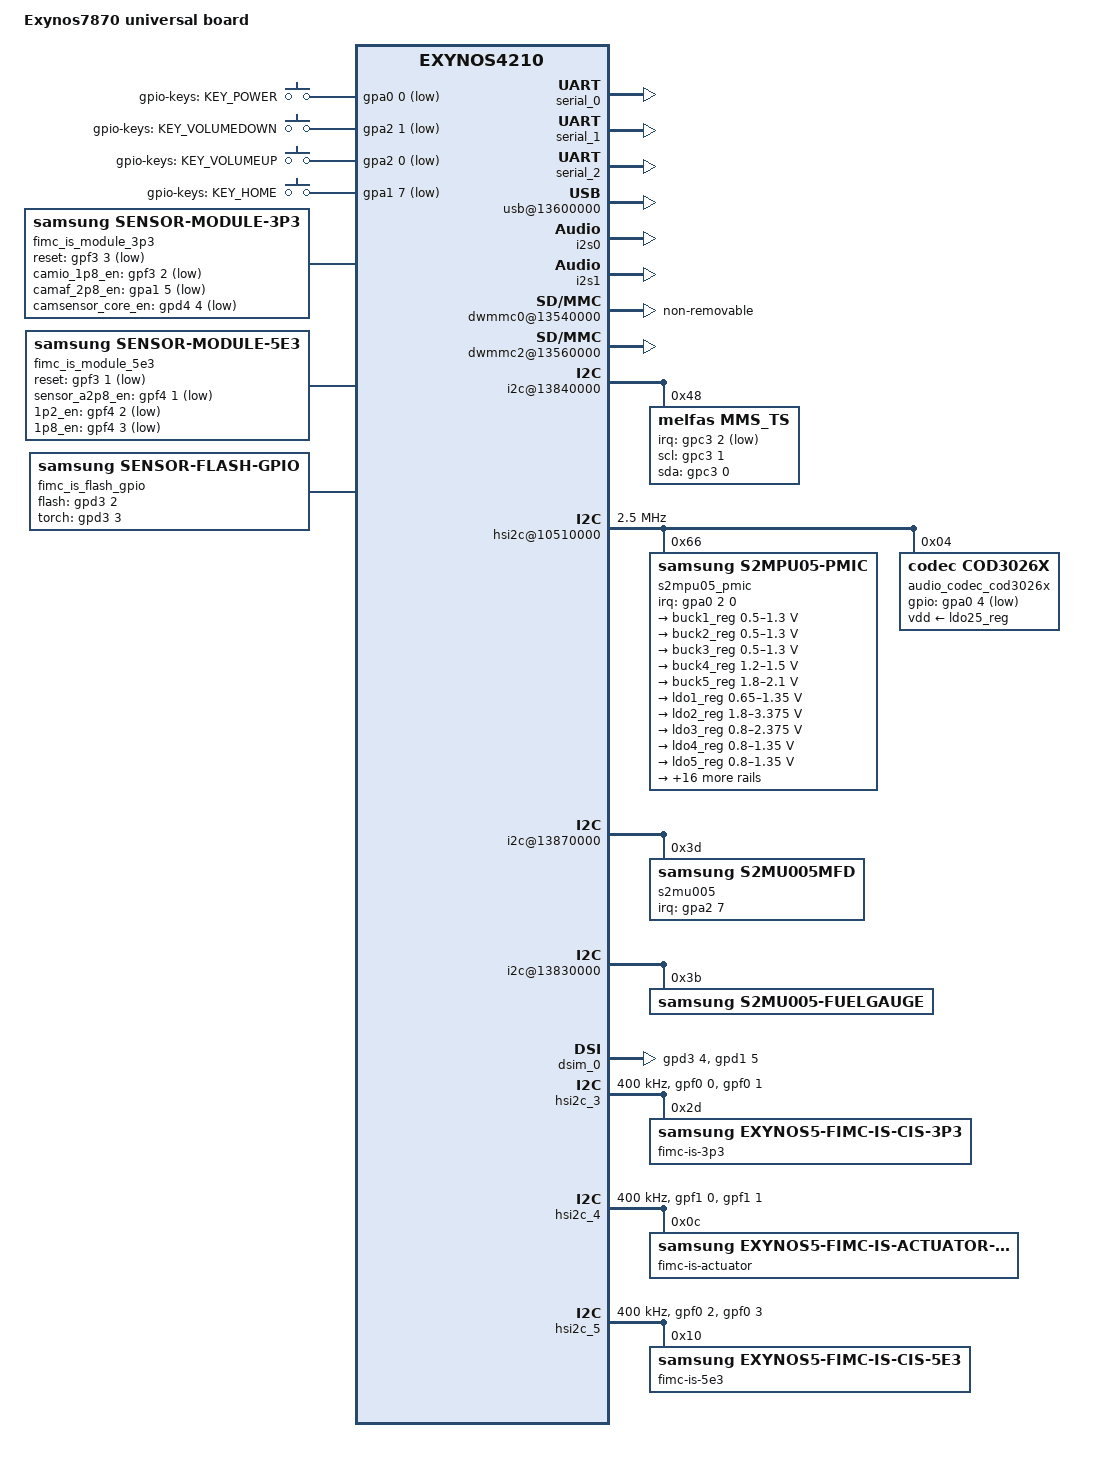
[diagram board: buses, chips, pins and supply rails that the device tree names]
/*
 * SAMSUNG UNIVERSAL8890 board device tree source
 *
 * Copyright (c) 2013 Samsung Electronics Co., Ltd.
 *		http://www.samsung.com
 *
 * This program is free software; you can redistribute it and/or modify
 * it under the terms of the GNU General Public License version 2 as
 * published by the Free Software Foundation.
*/

/dts-v1/;
#include "exynos7870.dtsi"
#include "modem-ss315ap-pdata.dtsi"
#include "exynos7870-rmem-2000MB.dtsi"

/ {
	model = "Exynos7870 universal board";
	compatible = "samsung,exynos7870", "samsung,exynos4210";

	ect {
		parameter_address = <0x90000000>;
		parameter_size = <0x14000>;	/* u-boot always overwrites this value. */
	};

	memory@40000000 {
		device_type = "memory";
		reg = <0x0 0x40000000 0x80000000>;
	};

	chosen {
		bootargs = "console=ram ess_setup=0x46000000 androidboot.hardware=samsungexynos7870 androidboot.selinux=disabled firmware_class.path=/vendor/firmware androidboot.debug_level=0x4948 reserve-fimc=0";
		linux,initrd-start = <0x42000000>;
		linux,initrd-end = <0x420FFFFF>;
	};

	fixed-rate-clocks {
		oscclk {
			compatible = "samsung,exynos7870-oscclk";
			clock-frequency = <26000000>;
		};
	};

	reserved-memory {
		#address-cells = <2>;
		#size-cells = <1>;
		ranges;

		mfc_fw {
			compatible = "exynos5433-ion,mfc_fw";
			secure;
			reg = <0x0 0xAE800000 0x200000>;
			id = <8>;
		};

		mfc_nfw {
			compatible = "exynos5433-ion,mfc_nfw";
			reg = <0x0 0xAE600000 0x200000>;
			id = <12>;
		};
	};

	serial_0: uart@13810000 {
		status = "okay";
	};

	serial_1: uart@13800000 {
		status = "okay";
	};

	serial_2: uart@13820000 {
		status = "okay";
	};

	usb@13600000 {
		status = "okay";

		dwc3 {
			maximum-speed = "high-speed";
			dr_mode = "otg";
			is_not_vbus_pad;
		};
	};

	pinctrl_1: pinctrl@148C0000 {
		compatible = "samsung,exynos7870-pinctrl";
		reg = <0x0 0x148C0000 0x1000>;
		interrupts = <0 68 0>;
	};

	s1402x: s1402x@14880000 {
		pinctrl-names = "default", "idle";
		pinctrl-0 = <&i2s_pmic_bus
				&i2s_amp_bus>;
		pinctrl-1 = <&i2s_pmic_bus_idle
				&i2s_amp_bus_idle> ;
		bck-mcko-mode;
		status = "okay";
	};

	i2s0: i2s@148A0000 {
		status = "okay";
	};

	i2s1: i2s@148B0000 {
		status = "okay";
	};

	audio_cp_dummy: cp_dummy {
			compatible = "samsung,cp_dummy";
			status = "okay";
	};

	audio_fm_dummy: fm_dummy {
			compatible = "samsung,fm_dummy";
			status = "okay";
	};

	audio_bt_dummy: bt_dummy {
			compatible = "samsung,bt_dummy";
			status = "okay";
	};

	audio_codec_dummy: dummy-codec {
			compatible = "samsung,dummy-codec";
			status = "okay";
	};


	gpio_keys {
		compatible = "gpio-keys";
		pinctrl-names = "default";
		pinctrl-0 = <&key_power &key_voldown &key_volup &key_home>;
		#address-cells = <1>;
		#size-cells = <0>;

		button@1 {
			label = "gpio-keys: KEY_POWER";
			interrupts = <0 0 0>;
			interrupt-parent = <&gpa0>;
			linux,code = <116>;
			gpios = <&gpa0 0 0xf>;
			gpio-key,wakeup = <1>;
		};
		button@2 {
			label = "gpio-keys: KEY_VOLUMEDOWN";
			interrupts = <1 0 0>;
			interrupt-parent = <&gpa2>;
			linux,code = <114>;
			gpios = <&gpa2 1 0xf>;
		};
		button@3 {
			label = "gpio-keys: KEY_VOLUMEUP";
			interrupts = <0 0 0>;
			interrupt-parent = <&gpa2>;
			linux,code = <115>;
			gpios = <&gpa2 0 0xf>;
		};
		button@4 {
			label = "gpio-keys: KEY_HOME";
			interrupts = <7 0 0>;
			interrupt-parent = <&gpa1>;
			linux,code = <172>;
			gpios = <&gpa1 7 0xf>;
			gpio-key,wakeup = <1>;
		};
	};

	usb_notifier {
		compatible = "samsung,usb-notifier";
		udc = <&udc>;
	};

	dwmmc0@13540000 {
		status = "okay";
		num-slots = <1>;
		broken-cd;
		use-smu;
		fixed_voltage;
		clock-gate;
		supports-highspeed;
		mmc-ddr-1_8v;
		mmc-hs200-1_8v;
		mmc-hs400-1_8v;
		supports-8bit;
		supports-cmd23;
		supports-erase;
		enable-ulp-mode;
		supports-hs400-enhanced-strobe;
		use-fine-tuning;
		bypass-for-allpass;
		card-init-hwacg-ctrl;
		fifo-depth = <0x40>;
		non-removable;
		desc-size = <4>;
		card-detect-delay = <200>;
		data-timeout = <200>;
		clock-frequency = <800000000>;
		samsung,dw-mshc-ciu-div = <3>;
		samsung,dw-mshc-txdt-crc-timer-fastlimit = <0x34>;
		samsung,dw-mshc-txdt-crc-timer-initval = <0x38>;
		samsung,dw-mshc-ddr200-delay-line = <0x60>;
		samsung,dw-mshc-sdr-timing = <3 0 4 0>;
		samsung,dw-mshc-ddr-timing = <3 0 4 2>;
		samsung,dw-mshc-hs200-timing = <3 0 3 0>;
		samsung,dw-mshc-ddr200-timing = <1 0 4 0>;
		samsung,dw-mshc-ddr200-ulp-timing = <3 0 3 0>;

		num-ref-clks = <12>;
		ciu_clkin = <25 50 50 25 50 100 200 50 50 200 200 200>;

		/* Swapping clock drive strength */
		clk-drive-number = <6>;
		pinctrl-names = "default",
			"fast-slew-rate-1x",
			"fast-slew-rate-2x",
			"fast-slew-rate-3x",
			"fast-slew-rate-4x",
			"fast-slew-rate-5x",
			"fast-slew-rate-6x";
		pinctrl-0 = <&sd0_clk &sd0_cmd &sd0_rdqs &sd0_bus1 &sd0_bus4 &sd0_bus8>;
		pinctrl-1 = <&sd0_clk_fast_slew_rate_1x>;
		pinctrl-2 = <&sd0_clk_fast_slew_rate_2x>;
		pinctrl-3 = <&sd0_clk_fast_slew_rate_3x>;
		pinctrl-4 = <&sd0_clk_fast_slew_rate_4x>;
		pinctrl-5 = <&sd0_clk_fast_slew_rate_5x>;
		pinctrl-6 = <&sd0_clk_fast_slew_rate_6x>;
		slot@0 {
			reg = <0>;
			bus-width = <8>;
		};
	};

	dwmmc2@13560000 {
		status = "okay";
		num-slots = <1>;
		clock-gate;
		supports-highspeed;
		supports-4bit;
		supports-cmd23;
		supports-erase;
		sd-uhs-sdr50;
		sd-uhs-sdr104;
		card-detect-gpio;
		bypass-smu;
		bypass-for-allpass;
		use-fine-tuning;
		card-init-hwacg-ctrl;
		only_once_tune;
		skip-init-mmc-scan;
		ignore-phase = <(1 << 7)>;
		fifo-depth = <0x40>;
		desc-size = <8>;
		card-detect-delay = <200>;
		data-timeout = <200>;
		hto-timeout = <550>;
		samsung,dw-mshc-ciu-div = <3>;
		clock-frequency = <800000000>;
		samsung,dw-mshc-sdr-timing = <3 0 2 0>;
		samsung,dw-mshc-ddr-timing = <3 0 2 1>;
		samsung,dw-mshc-sdr50-timing = <3 0 4 2>;
		samsung,dw-mshc-sdr104-timing = <3 0 3 0>;

		num-ref-clks = <9>;
		ciu_clkin = <25 50 50 25 50 100 200 50 50>;

		/* Swapping clock drive strength */
		clk-drive-number = <4>;
		pinctrl-names = "default",
			"fast-slew-rate-1x",
			"fast-slew-rate-2x",
			"fast-slew-rate-3x",
			"fast-slew-rate-4x";
		pinctrl-0 = <&sd2_clk &sd2_cmd &sd2_bus1 &sd2_bus4 &dwmmc2_cd_ext_irq>;
		pinctrl-1 = <&sd2_clk_fast_slew_rate_1x>;
		pinctrl-2 = <&sd2_clk_fast_slew_rate_2x>;
		pinctrl-3 = <&sd2_clk_fast_slew_rate_3x>;
		pinctrl-4 = <&sd2_clk_fast_slew_rate_4x>;

		card-detect = <&gpa0 1 0xf>;
		slot@0 {
			reg = <0>;
			bus-width = <4>;
			disable-wp;
		};
	};

	pinctrl@139D0000 {
		attn_input: attn-input {
			samsung,pins = "gpc3-2";
			samsung,pin-function = <0>;
			samsung,pin-pud = <0>;
			samsung,pin-drv = <0>;
		};
		attn_irq: attn-irq {
			samsung,pins = "gpc3-2";
			samsung,pin-function = <0xf>;
			samsung,pin-pud = <0>;
			samsung,pin-drv = <0>;
		};
	};

	pinctrl@139B0000 {
		tsp_33_en: tsp-33-en {
			samsung,pins = "gpd1-6";
			samsung,pin-function = <1>;
			samsung,pin-pud = <3>;
			samsung,pin-drv = <0>;
			samsung,pin-val = <1>;
		};
	};

	i2c@13840000 {
		samsung,i2c-sda-delay = <100>;
		samsung,i2c-max-bus-freq = <400000>;
		status = "okay";
		#address-cells = <1>;
		#size-cells = <0>;

		mms_ts@48 {
			compatible = "melfas,mms_ts";
			reg = <0x48>;
			pinctrl-names = "on_state", "off_state";
			pinctrl-0 = <&attn_irq &tsp_33_en>;
			pinctrl-1 = <&attn_input>;
			melfas,vdd_en = "tsp_dvdd";
			melfas,irq-gpio = <&gpc3 2 0xf>;
			melfas,scl-gpio = <&gpc3 1 2>;
			melfas,sda-gpio = <&gpc3 0 2>;
			melfas,max_x = <1080>;
			melfas,max_y = <1920>;
			melfas,fw_name = "tsp_melfas/mms449_s5neo.fw";
		};
	};

	pinctrl@139F0000 {
		key_power: key-power {
			samsung,pins = "gpa0-0";
			samsung,pin-function = <0xf>;
			samsung,pin-pud = <0>;
			samsung,pin-drv = <0>;
		};

		key_voldown: key-voldown {
			samsung,pins = "gpa2-1";
			samsung,pin-function = <0xf>;
			samsung,pin-pud = <0>;
			samsung,pin-drv = <0>;
		};

		key_volup: key-volup {
			samsung,pins = "gpa2-0";
			samsung,pin-function = <0xf>;
			samsung,pin-pud = <0>;
			samsung,pin-drv = <0>;
		};

		key_home: key-home {
			samsung,pins = "gpa1-7";
			samsung,pin-function = <0xf>;
			samsung,pin-pud = <0>;
			samsung,pin-drv = <0>;
		};
		pmic_irq: pmic-irq {
			samsung,pins = "gpa0-2";
			samsung,pin-pud = <3>;
			samsung,pin-drv = <3>;
		};

		cod3026_irq: cod3026-irq {
			samsung,pins = "gpa0-4";
			samsung,pin-pud = <3>;
			samsung,pin-drv = <3>;
		};

		if_irq: if-irq {
			samsung,pins = "gpa2-7";
			samsung,pin-pud = <0>;
			samsung,pin-drv = <0>;
		};

		fuel_irq: fuel-irq {
			samsung,pins = "gpa0-3";
			samsung,pin-pud = <0>;
			samsung,pin-drv = <0>;
		};
	};

	pinctrl@139E0000 {
		if_pmic_rstb: if-pmic-rstb {
			samsung,pins = "gpc7-4";
			samsung,pin-function = <2>;
			samsung,pin-pud = <3>;
			samsung,pin-con-pdn = <3>;
		};
	};

	pinctrl@139B0000 {
		/* Warm reset information from AP */
		pm_wrsti: pm-wrsti {
			samsung,pins = "gpd1-0";
			samsung,pin-con-pdn = <3>;
		};
	};

	hsi2c@10510000 {
		status = "okay";
		samsung,hs-mode;
		clock-frequency = <2500000>;
		samsung,hsi2c-batcher;
		#address-cells = <1>;
		#size-cells = <0>;

		s2mpu05_pmic@66 {
			compatible = "samsung,s2mpu05-pmic";
			reg = <0x66>;
			ten-bit-address;
			interrupts = <2 0 0>;
			interrupt-parent = <&gpa0>;
			pinctrl-names = "default";
			pinctrl-0 = <&pmic_irq &pm_wrsti>;
			g3d_en = <1>; /* 1 : enable , 0 : disable */
			buck2en_pin = "etc1-3";
			buck2en_addr = "139B0080.pinctrl";
			/* RTC: wtsr/smpl */
			wtsr_en = <1>; /* enable */
			smpl_en = <1>; /* enable */
			wtsr_timer_val = <3>;   /* 1000ms */
			smpl_timer_val = <4>;   /* 500ms */
			check_jigon = <0>; /* do not check jigon */
			/* RTC: If it's first boot, reset rtc to 1/1/2015 12:00:00(Thu) */
			init_time,sec = <0>;
			init_time,min = <0>;
			init_time,hour = <12>;
			init_time,mday = <1>;
			init_time,mon = <0>;
			init_time,year = <115>;
			init_time,wday = <4>;

			regulators {
				buck1_reg: BUCK1 {
					regulator-name = "BUCK1";
					regulator-min-microvolt = <500000>;
					regulator-max-microvolt = <1300000>;
					regulator-always-on;
					regulator-boot-on;
					regulator-ramp-delay = <12000>;
					regulator-initial-mode = <1>;
					regulator-expected-consumer = <2>;
				};

				buck2_reg: BUCK2 {
					regulator-name = "BUCK2";
					regulator-min-microvolt = <500000>;
					regulator-max-microvolt = <1300000>;
					regulator-always-on;
					regulator-boot-on;
					regulator-ramp-delay = <12000>;
					regulator-initial-mode = <2>;		/* MIF mode */
					regulator-expected-consumer = <4>;
				};

				buck3_reg: BUCK3 {
					regulator-name = "BUCK3";
					regulator-min-microvolt = <500000>;
					regulator-max-microvolt = <1300000>;
					regulator-always-on;
					regulator-boot-on;
					regulator-ramp-delay = <12000>;
					regulator-initial-mode = <2>;
				};

				buck4_reg: BUCK4 {
					regulator-name = "BUCK4";
					regulator-min-microvolt = <1200000>;
					regulator-max-microvolt = <1500000>;
					regulator-always-on;
					regulator-boot-on;
					regulator-ramp-delay = <12000>;
					regulator-initial-mode = <2>;
				};

				buck5_reg: BUCK5 {
					regulator-name = "BUCK5";
					regulator-min-microvolt = <1800000>;
					regulator-max-microvolt = <2100000>;
					regulator-always-on;
					regulator-boot-on;
					regulator-ramp-delay = <12000>;
					regulator-initial-mode = <2>;
				};

				ldo1_reg: LDO1 {
					regulator-name = "vdd_ldo1";
					regulator-min-microvolt = <650000>;
					regulator-max-microvolt = <1350000>;
					regulator-always-on;
					regulator-boot-on;
					regulator-ramp-delay = <12000>;
					regulator-initial-mode = <3>;
				};

				ldo2_reg: LDO2 {
					regulator-name = "vqmmc";
					regulator-min-microvolt = <1800000>;
					regulator-max-microvolt = <3375000>;
					regulator-boot-on;
					regulator-always-on;
					regulator-ramp-delay = <12000>;
					regulator-initial-mode = <1>;
				};

				ldo3_reg: LDO3 {
					regulator-name = "vdd_ldo3";
					regulator-min-microvolt = <800000>;
					regulator-max-microvolt = <2375000>;
					regulator-boot-on;
					regulator-always-on;
					regulator-ramp-delay = <12000>;
					regulator-initial-mode = <3>;
				};

				ldo4_reg: LDO4 {
					regulator-name = "vdd_ldo4";
					regulator-min-microvolt = <800000>;
					regulator-max-microvolt = <1350000>;
					regulator-boot-on;
					regulator-always-on;
					regulator-ramp-delay = <12000>;
					regulator-initial-mode = <1>;
				};

				ldo5_reg: LDO5 {
					regulator-name = "vdd_ldo5";
					regulator-min-microvolt = <800000>;
					regulator-max-microvolt = <1350000>;
					regulator-boot-on;
					regulator-always-on;
					regulator-ramp-delay = <12000>;
					regulator-initial-mode = <3>;
				};

				ldo6_reg: LDO6 {
					regulator-name = "vdd_ldo6";
					regulator-min-microvolt = <800000>;
					regulator-max-microvolt = <1350000>;
					regulator-boot-on;
					regulator-always-on;
					regulator-ramp-delay = <12000>;
					regulator-initial-mode = <1>;
				};

				ldo7_reg: LDO7 {
					regulator-name = "vdd_ldo7";
					regulator-min-microvolt = <800000>;
					regulator-max-microvolt = <2375000>;
					regulator-boot-on;
					regulator-always-on;
					regulator-ramp-delay = <12000>;
					regulator-initial-mode = <1>;
				};

				ldo8_reg: LDO8 {
					regulator-name = "vdd_ldo8";
					regulator-min-microvolt = <1800000>;
					regulator-max-microvolt = <3375000>;
					regulator-boot-on;
					regulator-always-on;
					regulator-ramp-delay = <12000>;
					regulator-initial-mode = <1>;
				};

				ldo9_reg: LDO9 {
					regulator-name = "vdd_ldo9";
					regulator-min-microvolt = <650000>;
					regulator-max-microvolt = <1350000>;
					regulator-always-on;
					regulator-ramp-delay = <12000>;
					regulator-initial-mode = <1>;
				};

				ldo10_reg: LDO10 {
					regulator-name = "vdd_ldo10";
					regulator-min-microvolt = <650000>;
					regulator-max-microvolt = <1350000>;
					regulator-always-on;
					regulator-ramp-delay = <12000>;
					regulator-initial-mode = <1>;
				};

				ldo25_reg: LDO25 {
					regulator-name = "vdd_ldo25";
					regulator-min-microvolt = <800000>;
					regulator-max-microvolt = <2375000>;
					regulator-ramp-delay = <12000>;
					regulator-initial-mode = <1>;
				};

				ldo26_reg: LDO26 {
					regulator-name = "vdd_ldo26";
					regulator-min-microvolt = <1800000>;
					regulator-max-microvolt = <3375000>;
					regulator-always-on;
					regulator-ramp-delay = <12000>;
					regulator-initial-mode = <1>;
				};

				ldo27_reg: LDO27 {
					regulator-name = "vdd_ldo27";
					regulator-min-microvolt = <800000>;
					regulator-max-microvolt = <2375000>;
					regulator-always-on;
					regulator-ramp-delay = <12000>;
					regulator-initial-mode = <1>;
				};

				ldo28_reg: LDO28 {
					regulator-name = "vmmc";
					regulator-min-microvolt = <1800000>;
					regulator-max-microvolt = <3375000>;
					regulator-always-on;
					regulator-ramp-delay = <12000>;
					regulator-initial-mode = <1>;
				};

				ldo29_reg: LDO29 {
					regulator-name = "vdd_ldo29";
					regulator-min-microvolt = <1800000>;
					regulator-max-microvolt = <3375000>;
					regulator-always-on;
					regulator-ramp-delay = <12000>;
					regulator-initial-mode = <1>;
				};

				ldo30_reg: LDO30 {
					regulator-name = "vdd_ldo30";
					regulator-min-microvolt = <1800000>;
					regulator-max-microvolt = <2375000>;
					regulator-boot-on;
					regulator-always-on;
					regulator-ramp-delay = <12000>;
					regulator-initial-mode = <3>;
				};

				ldo31_reg: LDO31 {
					regulator-name = "vdd_ldo31";
					regulator-min-microvolt = <1800000>;
					regulator-max-microvolt = <3375000>;
					regulator-boot-on;
					regulator-always-on;
					regulator-ramp-delay = <12000>;
					regulator-initial-mode = <1>;
				};

				ldo32_reg: LDO32 {
					regulator-name = "tsp_dvdd";
					regulator-min-microvolt = <3300000>;
					regulator-max-microvolt = <3300000>;
					regulator-always-on;
					regulator-ramp-delay = <12000>;
					regulator-initial-mode = <1>;
				};

				ldo33_reg: LDO33 {
					regulator-name = "vdd_sensor_2p85";
					regulator-min-microvolt = <1800000>;
					regulator-max-microvolt = <3375000>;
					regulator-ramp-delay = <12000>;
					regulator-initial-mode = <1>;
				};

				ldo34_reg: LDO34 {
					regulator-name = "vdd_ldo34";
					regulator-min-microvolt = <1800000>;
					regulator-max-microvolt = <3375000>;
					regulator-always-on;
					regulator-ramp-delay = <12000>;
					regulator-initial-mode = <1>;
				};

				ldo35_reg: LDO35 {
					regulator-name = "VDD_CAM_SENSOR_A2P95";
					regulator-min-microvolt = <2950000>;
					regulator-max-microvolt = <2950000>;
					regulator-always-on;
					regulator-ramp-delay = <12000>;
					regulator-initial-mode = <1>;
				};
			};
		};

		audio_codec_cod3026x: cod3026x@04 {
			compatible = "codec,cod3026x";
			reg = <0x04>;
			ten-bit-address;
			vdd-supply = <&ldo25_reg>;
			pinctrl-names = "default";
			pinctrl-0 = <&cod3026_irq>;
			interrupt-parent = <&gpa0>;
			gpios = <&gpa0 4 0xf>;
			mic-bias1-voltage = <3>;
			mic-bias2-voltage = <3>;
			mic-bias-ldo-voltage = <3>;
		};
	};


	sound {
		compatible = "samsung,universal7870-cod3026x";
		samsung,audio-cpu = <&i2s0      /* primary */
			&i2s0                    /* secondary */
			&audio_cp_dummy
			&audio_bt_dummy
			&audio_fm_dummy
			&i2s1			/*AMP for AP */
			&audio_cp_dummy		/*AMP for CP */
			&eax
			&eax
			&eax
			&eax>;
		samsung,audio-codec = <&audio_codec_cod3026x
			&audio_codec_cod3026x
			&audio_codec_cod3026x
			&audio_codec_dummy
			&audio_codec_cod3026x
			&audio_codec_dummy
			&audio_codec_dummy
			&audio_codec_cod3026x
			&audio_codec_cod3026x
			&audio_codec_cod3026x
			&audio_codec_cod3026x>;
		mic-bias-mode = <1 1 2 0>;
		samsung,auxdev = <&s1402x>;
		status = "okay";
	};


	i2c@13870000 {
		status = "okay";
		samsung,i2c-sda-delay = <100>;
		samsung,i2c-max-bus-freq = <400000>;

		s2mu005@3d {
			compatible = "samsung,s2mu005mfd";
			reg = <0x3d>;
			pinctrl-names = "default";
			pinctrl-0 = <&if_irq>;
			s2mu005,irq-gpio = <&gpa2 7 0>;
			s2mu005,wakeup;

			leds {
				flash-gpio = <&gpd3 2 0>;
				torch-gpio = <&gpd3 3 0>;

				status = "okay";
				s2mu005-leds1 {
					id = <0>;
					ledname = "leds-sec1";
					brightness = <27>;
					timeout = <15>;
				};

				s2mu005-leds2 {
					id = <1>;
					ledname = "leds-sec2";
					brightness = <3>;
					timeout = <15>;
				};
			};

			muic {
				status = "okay";
				muic,uart_addr = "139c0000.pinctrl";
				muic,uart_rxd = "gpb1-0";
				muic,uart_txd = "gpb1-1";
			};
		};
	};

	s2mu005-charger {
		status = "disable";
		compatible = "samsung,s2mu005-charger";
		battery,is_1MHz_switching = <1>;
		battery,is_fixed_switching = <1>;
		battery,chg_gpio_en = <0>;
		battery,chg_polarity_en = <0>;
		battery,chg_gpio_status = <0>;
		battery,chg_polarity_status = <0>;
		battery,chg_float_voltage = <4390>;
	};

	s2mu005-fuelgauge@35 {
		fuelgauge,fuel_alert_soc = <1>;
		fuelgauge,capacity_max = <1000>;
		fuelgauge,capacity_max_margin = <30>;
		fuelgauge,capacity_min = <0>;
		fuelgauge,capacity_calculation_type = <28>;
		fuelgauge,repeated_fuelalert;
		fuelgauge,type_str = "SDI";
	};

	i2c@13830000 {
		status = "okay";
		s2mu005-fuelgauge@3B {
			compatible = "samsung,s2mu005-fuelgauge";
			reg = <0x3B>;
			pinctrl-names = "default";
			pinctrl-0 = <&fuel_irq>;
			fuelgauge,fuel_int = <&gpa0 3 0>;
			fuelgauge,fuel_alert_soc = <1>;
			fuelgauge,capacity_max = <1000>;
			fuelgauge,capacity_max_margin = <70>;
			fuelgauge,capacity_min = <0>;
			fuelgauge,capacity_calculation_type = <28>;
			fuelgauge,type_str = "SDI";
			fuelgauge,model_type = <1>;
		};
	};

	battery {
		battery,charger_name = "sec-charger";
		battery,fuelgauge_name = "sec-fuelgauge";
		battery,chg_eoc_dualpath = <1>;

		battery,input_current_limit = <1800 0 0 1800 460 900 1000 460 1000 0 820 1900 1000 0 0 400 700 1300 300 1000 1500 0 1667 1000 80 1800>;
		battery,fast_charging_current = <2100 0 0 1300 460 1200 1000 460 1200 0 1000 1600 1000 0 0 400 700 1300 300 1000 1500 0 3150 1000 80 1800>;
		battery,full_check_current_1st = <350 0 0 250 250 250 250 250 250 0 250 250 250 0 0 350 350 350 350 350 350 0 350 350 0 350>;
		battery,full_check_current_2nd = <3000 0 0 3000 3000 3000 3000 3000 3000 0 3000 3000 0 0 0 3000 3000 3000 3000 3000 3000 0 3000 3000 3000 3000>;
		battery,input_current_limit_new = <1800 0 0 1500 460 900 1000 460 1000 0 820 1900 1000 0 0 400 700 1300 300 1000 1500 0 1667 1000 80 1800>;
		battery,fast_charging_current_new = <2100 0 0 1700 460 1200 1000 460 1200 0 1000 1600 1000 0 0 400 700 1300 300 1000 1500 0 3150 1000 80 1800>;
		battery,recharge_condition_vcell = <4250>;
	};


	ion {
		compatible = "samsung,exynos5430-ion";
	};

	decon_fb@14830000 {
		gpios = <&gpd1 3 0xf>; /* te_signal */
		psr_mode = <2>; /* 0: video mode, 1: DP command mode, 2: MIPI command mode */
		disp-pll-clk = <142000000>;
		disp-eclk = <160000000>;
		disp-vclk = <142000000>;
		disp-dvfs = <200000>;
		status = "okay";
	};

	dsim_0: dsim@14800000 {
		lcd_info = <&ea8064g>;
		/* lcd_info = <&s6e3fa0>; */
		/* lcd reset, power */
		gpios = <&gpd3 4 0x1>, <&gpd1 5 0x1>;
		/* gpios = <&gpd3 4 0x1>; */
		status = "okay";
	};

	ea8064g: ea8064g_fhd {
		mode = <2>;
		resolution = <1080 1920>;
		size = <70 121>;
		timing,refresh = <60>;
		timing,h-porch = <1 1 1>;
		timing,v-porch = <10 3 1>;
		timing,dsi-hs-clk = <1100>;
		timing,pms = <3 127 0>;
		timing,dsi-escape-clk = <20>;
	};

	tmuctrl_0: tmuctrl_CPUCL0@10130000 {
		compatible = "samsung,exynos7870-tmu";
		reg = <0x0 0x10130000 0x200>;
		interrupts = <0 435 0>;
		max_trigger_level = <8>;
		non_hw_trigger_levels = <7>;

		/* Throttling Level */
		trigger_levels_0 = <76>;
		trigger_levels_1 = <81>;
		trigger_levels_2 = <86>;
		trigger_levels_3 = <91>;
		trigger_levels_4 = <96>;
		trigger_levels_5 = <101>;
		trigger_levels_6 = <111>;
		trigger_levels_7 = <115>;

		trigger_enable_0 = <ENABLE>;
		trigger_enable_1 = <ENABLE>;
		trigger_enable_2 = <ENABLE>;
		trigger_enable_3 = <ENABLE>;
		trigger_enable_4 = <ENABLE>;
		trigger_enable_5 = <ENABLE>;
		trigger_enable_6 = <ENABLE>;
		trigger_enable_7 = <ENABLE>;

		trigger_type_0 = <THROTTLE_ACTIVE>;
		trigger_type_1 = <THROTTLE_ACTIVE>;
		trigger_type_2 = <THROTTLE_ACTIVE>;
		trigger_type_3 = <THROTTLE_ACTIVE>;
		trigger_type_4 = <THROTTLE_ACTIVE>;
		trigger_type_5 = <THROTTLE_ACTIVE>;
		trigger_type_6 = <THROTTLE_ACTIVE>;
		trigger_type_7 = <HW_TRIP>;

		freq_tab_count = <5>;

		freq_clip_max_0 = <1586000>;
		freq_clip_max_1 = <1248000>;
		freq_clip_max_2 = <1248000>;
		freq_clip_max_3 = <546000>;
		freq_clip_max_4 = <546000>;

		cooling_level_0 = <76>;
		cooling_level_1 = <81>;
		cooling_level_2 = <86>;
		cooling_level_3 = <91>;
		cooling_level_4 = <96>;
	};

	tmuctrl_1: tmuctrl_CPUCL1@10130000 {
		compatible = "samsung,exynos7870-tmu";
		reg = <0x0 0x10130000 0x200>;
		interrupts = <0 435 0>;
		max_trigger_level = <8>;
		non_hw_trigger_levels = <7>;

		/* Throttling Level */
		trigger_levels_0 = <76>;
		trigger_levels_1 = <81>;
		trigger_levels_2 = <86>;
		trigger_levels_3 = <91>;
		trigger_levels_4 = <96>;
		trigger_levels_5 = <101>;
		trigger_levels_6 = <111>;
		trigger_levels_7 = <115>;

		trigger_enable_0 = <ENABLE>;
		trigger_enable_1 = <ENABLE>;
		trigger_enable_2 = <ENABLE>;
		trigger_enable_3 = <ENABLE>;
		trigger_enable_4 = <ENABLE>;
		trigger_enable_5 = <ENABLE>;
		trigger_enable_6 = <ENABLE>;
		trigger_enable_7 = <ENABLE>;

		trigger_type_0 = <THROTTLE_ACTIVE>;
		trigger_type_1 = <THROTTLE_ACTIVE>;
		trigger_type_2 = <THROTTLE_ACTIVE>;
		trigger_type_3 = <THROTTLE_ACTIVE>;
		trigger_type_4 = <THROTTLE_ACTIVE>;
		trigger_type_5 = <THROTTLE_ACTIVE>;
		trigger_type_6 = <THROTTLE_ACTIVE>;
		trigger_type_7 = <HW_TRIP>;

		freq_tab_count = <5>;

		freq_clip_max_0 = <1586000>;
		freq_clip_max_1 = <1248000>;
		freq_clip_max_2 = <1248000>;
		freq_clip_max_3 = <546000>;
		freq_clip_max_4 = <546000>;

		cooling_level_0 = <76>;
		cooling_level_1 = <81>;
		cooling_level_2 = <86>;
		cooling_level_3 = <91>;
		cooling_level_4 = <96>;

		hotplug_enable = <1>;
		hotplug_in_threshold = <91>;
		hotplug_out_threshold = <96>;
	};

	tmuctrl_2: tmuctrl_G3D@10130000 {
		compatible = "samsung,exynos7870-tmu";
		reg = <0x0 0x10130000 0x200>;
		interrupts = <0 435 0>;
		max_trigger_level = <8>;
		non_hw_trigger_levels = <7>;

		/* Throttling Level */
		trigger_levels_0 = <76>;
		trigger_levels_1 = <81>;
		trigger_levels_2 = <86>;
		trigger_levels_3 = <91>;
		trigger_levels_4 = <96>;
		trigger_levels_5 = <101>;
		trigger_levels_6 = <111>;
		trigger_levels_7 = <115>;

		trigger_enable_0 = <ENABLE>;
		trigger_enable_1 = <ENABLE>;
		trigger_enable_2 = <ENABLE>;
		trigger_enable_3 = <ENABLE>;
		trigger_enable_4 = <ENABLE>;
		trigger_enable_5 = <ENABLE>;
		trigger_enable_6 = <ENABLE>;
		trigger_enable_7 = <ENABLE>;

		trigger_type_0 = <THROTTLE_ACTIVE>;
		trigger_type_1 = <THROTTLE_ACTIVE>;
		trigger_type_2 = <THROTTLE_ACTIVE>;
		trigger_type_3 = <THROTTLE_ACTIVE>;
		trigger_type_4 = <THROTTLE_ACTIVE>;
		trigger_type_5 = <THROTTLE_ACTIVE>;
		trigger_type_6 = <THROTTLE_ACTIVE>;
		trigger_type_7 = <HW_TRIP>;

		freq_tab_count = <6>;

		freq_clip_max_0 = <1246000>;
		freq_clip_max_1 = <1146000>;
		freq_clip_max_2 = <1001000>;
		freq_clip_max_3 = <728000>;
		freq_clip_max_4 = <343000>;
		freq_clip_max_5 = <343000>;

		cooling_level_0 = <76>;
		cooling_level_1 = <81>;
		cooling_level_2 = <86>;
		cooling_level_3 = <91>;
		cooling_level_4 = <96>;
		cooling_level_5 = <101>;

		/* gpu cooling related table */
		gpu_idx_num = <6>;
		/* flags, driver_data(index), frequency */
		gpu_cooling_table = < 0 0 1001000
				      0 1 845000
				      0 2 728000
				      0 3 545000
				      0 4 343000
				      0 5 TABLE_END>;
	};

	/* modem_interface */
	mif_pdata {
		reg = <0 0x10000 0x14>;
		pinctrl-names = "default";
		pinctrl-0 = <&gpio_nfc>;

		mif,ap_clk_table = <
			/* khz */
			1586000
			1482000
			1352000
			1248000
			1144000
			1014000
			902000
			839000
			757000
			676000
			546000
			449000
			345000
			>;

		mif,mif_clk_table = <
			/* khz */
			902000
			825000
			728000
			676000
			546000
			451000
			275000
			>;

		mif,int_clk_table = <
			/* khz */
			400000
			334000
			200000
			134000
			>;
	};

	fimc_is@14400000 {
		rear_sensor_id = <23>; /* 3P3 */
		front_sensor_id = <17>; /* 5E3 */
		use_module_check;
		skip_cal_loading;
		fimc_is_dvfs {
			#define DVFS_INT_L0 400000
			#define DVFS_INT_L1 334000
			#define DVFS_INT_L2 200000
			#define DVFS_INT_L3 134000

			#define DVFS_CAM_L0 533000
			#define DVFS_CAM_L1 334000
			#define DVFS_CAM_L2 167000

			#define DVFS_MIF_L0 902000
			#define DVFS_MIF_L1 836000
			#define DVFS_MIF_L2 728000
			#define DVFS_MIF_L3 676000
			#define DVFS_MIF_L4 546000
			#define DVFS_MIF_L5 451000
			#define DVFS_MIF_L6 275000

			table0 {
				desc = "default Max version";

				default_int = <0>;
				default_cam = <DVFS_CAM_L0>;
				default_mif = <DVFS_MIF_L0>;
				default_i2c = <0>;

				front_preview_int = <0>;
				front_preview_cam = <DVFS_CAM_L1>;
				front_preview_mif = <DVFS_MIF_L3>;
				front_preview_i2c = <0>;

				front_capture_int = <0>;
				front_capture_cam = <DVFS_CAM_L1>;
				front_capture_mif = <DVFS_MIF_L0>;
				front_capture_i2c = <0>;

				front_video_int = <0>;
				front_video_cam = <DVFS_CAM_L1>;
				front_video_mif = <DVFS_MIF_L3>;
				front_video_i2c = <0>;

				front_video_whd_int = <0>;
				front_video_whd_cam = <DVFS_CAM_L1>;
				front_video_whd_mif = <DVFS_MIF_L3>;
				front_video_whd_i2c = <0>;

				front_video_capture_int = <0>;
				front_video_capture_cam = <DVFS_CAM_L1>;
				front_video_capture_mif = <DVFS_MIF_L0>;
				front_video_capture_i2c = <0>;

				front_video_whd_capture_int = <0>;
				front_video_whd_capture_cam = <DVFS_CAM_L1>;
				front_video_whd_capture_mif = <DVFS_MIF_L0>;
				front_video_whd_capture_i2c = <0>;

				front_vt1_int = <0>;
				front_vt1_cam = <DVFS_CAM_L1>;
				front_vt1_mif = <DVFS_MIF_L3>;
				front_vt1_i2c = <0>;

				front_vt2_int = <0>;
				front_vt2_cam = <DVFS_CAM_L1>;
				front_vt2_mif = <DVFS_MIF_L3>;
				front_vt2_i2c = <0>;

				front_companion_preview_int = <0>;
				front_companion_preview_cam = <DVFS_CAM_L1>;
				front_companion_preview_mif = <DVFS_MIF_L3>;
				front_companion_preview_i2c = <0>;

				front_companion_capture_int = <0>;
				front_companion_capture_cam = <DVFS_CAM_L1>;
				front_companion_capture_mif = <DVFS_MIF_L0>;
				front_companion_capture_i2c = <0>;

				front_companion_video_int = <0>;
				front_companion_video_cam = <DVFS_CAM_L1>;
				front_companion_video_mif = <DVFS_MIF_L3>;
				front_companion_video_i2c = <0>;

				front_companion_video_whd_int = <0>;
				front_companion_video_whd_cam = <DVFS_CAM_L1>;
				front_companion_video_whd_mif = <DVFS_MIF_L3>;
				front_companion_video_whd_i2c = <0>;

				front_companion_video_capture_int = <0>;
				front_companion_video_capture_cam = <DVFS_CAM_L1>;
				front_companion_video_capture_mif = <DVFS_MIF_L0>;
				front_companion_video_capture_i2c = <0>;

				front_companion_video_whd_capture_int = <0>;
				front_companion_video_whd_capture_cam = <DVFS_CAM_L1>;
				front_companion_video_whd_capture_mif = <DVFS_MIF_L0>;
				front_companion_video_whd_capture_i2c = <0>;

				rear_preview_fhd_int = <0>;
				rear_preview_fhd_cam = <DVFS_CAM_L0>;
				rear_preview_fhd_mif = <DVFS_MIF_L2>;
				rear_preview_fhd_i2c = <0>;

				rear_preview_whd_int = <0>;
				rear_preview_whd_cam = <DVFS_CAM_L0>;
				rear_preview_whd_mif = <DVFS_MIF_L2>;
				rear_preview_whd_i2c = <0>;

				rear_preview_uhd_int = <0>;
				rear_preview_uhd_cam = <DVFS_CAM_L0>;
				rear_preview_uhd_mif = <DVFS_MIF_L2>;
				rear_preview_uhd_i2c = <0>;

				rear_capture_int = <0>;
				rear_capture_cam = <DVFS_CAM_L0>;
				rear_capture_mif = <DVFS_MIF_L0>;
				rear_capture_i2c = <0>;

				rear_video_fhd_int = <0>;
				rear_video_fhd_cam = <DVFS_CAM_L0>;
				rear_video_fhd_mif = <DVFS_MIF_L2>;
				rear_video_fhd_i2c = <0>;

				rear_video_whd_int = <0>;
				rear_video_whd_cam = <DVFS_CAM_L0>;
				rear_video_whd_mif = <DVFS_MIF_L2>;
				rear_video_whd_i2c = <0>;

				rear_video_uhd_int = <0>;
				rear_video_uhd_cam = <DVFS_CAM_L0>;
				rear_video_uhd_mif = <DVFS_MIF_L2>;
				rear_video_uhd_i2c = <0>;

				rear_video_fhd_capture_int = <0>;
				rear_video_fhd_capture_cam = <DVFS_CAM_L0>;
				rear_video_fhd_capture_mif = <DVFS_MIF_L0>;
				rear_video_fhd_capture_i2c = <0>;

				rear_video_whd_capture_int = <0>;
				rear_video_whd_capture_cam = <DVFS_CAM_L0>;
				rear_video_whd_capture_mif = <DVFS_MIF_L0>;
				rear_video_whd_capture_i2c = <0>;

				rear_video_uhd_capture_int = <0>;
				rear_video_uhd_capture_cam = <DVFS_CAM_L0>;
				rear_video_uhd_capture_mif = <DVFS_MIF_L0>;
				rear_video_uhd_capture_i2c = <0>;

				dual_preview_int = <0>;
				dual_preview_cam = <DVFS_CAM_L0>;
				dual_preview_mif = <DVFS_MIF_L0>;
				dual_preview_i2c = <0>;

				dual_capture_int = <0>;
				dual_capture_cam = <DVFS_CAM_L0>;
				dual_capture_mif = <DVFS_MIF_L0>;
				dual_capture_i2c = <0>;

				dual_video_int = <0>;
				dual_video_cam = <DVFS_CAM_L0>;
				dual_video_mif = <DVFS_MIF_L0>;
				dual_video_i2c = <0>;

				dual_video_capture_int = <0>;
				dual_video_capture_cam = <DVFS_CAM_L0>;
				dual_video_capture_mif = <DVFS_MIF_L0>;
				dual_video_capture_i2c = <0>;

				preview_high_speed_fps_int = <0>;
				preview_high_speed_fps_cam = <DVFS_CAM_L2>;
				preview_high_speed_fps_mif = <DVFS_MIF_L2>;
				preview_high_speed_fps_i2c = <0>;

				video_high_speed_60fps_int = <0>;
				video_high_speed_60fps_cam = <DVFS_CAM_L1>;
				video_high_speed_60fps_mif = <DVFS_MIF_L2>;
				video_high_speed_60fps_i2c = <0>;

				video_high_speed_120fps_int = <0>;
				video_high_speed_120fps_cam = <DVFS_CAM_L1>;
				video_high_speed_120fps_mif = <DVFS_MIF_L2>;
				video_high_speed_120fps_i2c = <0>;

				video_high_speed_240fps_int = <0>;
				video_high_speed_240fps_cam = <DVFS_CAM_L0>;
				video_high_speed_240fps_mif = <DVFS_MIF_L0>;
				video_high_speed_240fps_i2c = <0>;

				max_int = <0>;
				max_cam = <DVFS_CAM_L0>;
				max_mif = <DVFS_MIF_L0>;
				max_i2c = <0>;
			};

			table1 {
				desc = "HAL3 version";

				default_int = <0>;
				default_cam = <DVFS_CAM_L0>;
				default_mif = <DVFS_MIF_L0>;
				default_i2c = <0>;

				front_preview_int = <0>;
				front_preview_cam = <DVFS_CAM_L1>;
				front_preview_mif = <DVFS_MIF_L3>;
				front_preview_i2c = <0>;

				front_capture_int = <0>;
				front_capture_cam = <DVFS_CAM_L1>;
				front_capture_mif = <DVFS_MIF_L0>;
				front_capture_i2c = <0>;

				front_video_int = <0>;
				front_video_cam = <DVFS_CAM_L1>;
				front_video_mif = <DVFS_MIF_L3>;
				front_video_i2c = <0>;

				front_video_whd_int = <0>;
				front_video_whd_cam = <DVFS_CAM_L1>;
				front_video_whd_mif = <DVFS_MIF_L3>;
				front_video_whd_i2c = <0>;

				front_video_capture_int = <0>;
				front_video_capture_cam = <DVFS_CAM_L1>;
				front_video_capture_mif = <DVFS_MIF_L0>;
				front_video_capture_i2c = <0>;

				front_video_whd_capture_int = <0>;
				front_video_whd_capture_cam = <DVFS_CAM_L1>;
				front_video_whd_capture_mif = <DVFS_MIF_L0>;
				front_video_whd_capture_i2c = <0>;

				front_vt1_int = <0>;
				front_vt1_cam = <DVFS_CAM_L1>;
				front_vt1_mif = <DVFS_MIF_L3>;
				front_vt1_i2c = <0>;

				front_vt2_int = <0>;
				front_vt2_cam = <DVFS_CAM_L1>;
				front_vt2_mif = <DVFS_MIF_L3>;
				front_vt2_i2c = <0>;

				front_companion_preview_int = <0>;
				front_companion_preview_cam = <DVFS_CAM_L1>;
				front_companion_preview_mif = <DVFS_MIF_L3>;
				front_companion_preview_i2c = <0>;

				front_companion_capture_int = <0>;
				front_companion_capture_cam = <DVFS_CAM_L1>;
				front_companion_capture_mif = <DVFS_MIF_L0>;
				front_companion_capture_i2c = <0>;

				front_companion_video_int = <0>;
				front_companion_video_cam = <DVFS_CAM_L1>;
				front_companion_video_mif = <DVFS_MIF_L3>;
				front_companion_video_i2c = <0>;

				front_companion_video_whd_int = <0>;
				front_companion_video_whd_cam = <DVFS_CAM_L1>;
				front_companion_video_whd_mif = <DVFS_MIF_L3>;
				front_companion_video_whd_i2c = <0>;

				front_companion_video_capture_int = <0>;
				front_companion_video_capture_cam = <DVFS_CAM_L1>;
				front_companion_video_capture_mif = <DVFS_MIF_L0>;
				front_companion_video_capture_i2c = <0>;

				front_companion_video_whd_capture_int = <0>;
				front_companion_video_whd_capture_cam = <DVFS_CAM_L1>;
				front_companion_video_whd_capture_mif = <DVFS_MIF_L0>;
				front_companion_video_whd_capture_i2c = <0>;

				rear_preview_fhd_int = <0>;
				rear_preview_fhd_cam = <DVFS_CAM_L0>;
				rear_preview_fhd_mif = <DVFS_MIF_L2>;
				rear_preview_fhd_i2c = <0>;

				rear_preview_whd_int = <0>;
				rear_preview_whd_cam = <DVFS_CAM_L0>;
				rear_preview_whd_mif = <DVFS_MIF_L2>;
				rear_preview_whd_i2c = <0>;

				rear_preview_uhd_int = <0>;
				rear_preview_uhd_cam = <DVFS_CAM_L0>;
				rear_preview_uhd_mif = <DVFS_MIF_L2>;
				rear_preview_uhd_i2c = <0>;

				rear_capture_int = <0>;
				rear_capture_cam = <DVFS_CAM_L0>;
				rear_capture_mif = <DVFS_MIF_L0>;
				rear_capture_i2c = <0>;

				rear_video_fhd_int = <0>;
				rear_video_fhd_cam = <DVFS_CAM_L0>;
				rear_video_fhd_mif = <DVFS_MIF_L2>;
				rear_video_fhd_i2c = <0>;

				rear_video_whd_int = <0>;
				rear_video_whd_cam = <DVFS_CAM_L0>;
				rear_video_whd_mif = <DVFS_MIF_L2>;
				rear_video_whd_i2c = <0>;

				rear_video_uhd_int = <0>;
				rear_video_uhd_cam = <DVFS_CAM_L0>;
				rear_video_uhd_mif = <DVFS_MIF_L2>;
				rear_video_uhd_i2c = <0>;

				rear_video_fhd_capture_int = <0>;
				rear_video_fhd_capture_cam = <DVFS_CAM_L0>;
				rear_video_fhd_capture_mif = <DVFS_MIF_L0>;
				rear_video_fhd_capture_i2c = <0>;

				rear_video_whd_capture_int = <0>;
				rear_video_whd_capture_cam = <DVFS_CAM_L0>;
				rear_video_whd_capture_mif = <DVFS_MIF_L0>;
				rear_video_whd_capture_i2c = <0>;

				rear_video_uhd_capture_int = <0>;
				rear_video_uhd_capture_cam = <DVFS_CAM_L0>;
				rear_video_uhd_capture_mif = <DVFS_MIF_L0>;
				rear_video_uhd_capture_i2c = <0>;

				dual_preview_int = <0>;
				dual_preview_cam = <DVFS_CAM_L0>;
				dual_preview_mif = <DVFS_MIF_L0>;
				dual_preview_i2c = <0>;

				dual_capture_int = <0>;
				dual_capture_cam = <DVFS_CAM_L0>;
				dual_capture_mif = <DVFS_MIF_L0>;
				dual_capture_i2c = <0>;

				dual_video_int = <0>;
				dual_video_cam = <DVFS_CAM_L0>;
				dual_video_mif = <DVFS_MIF_L0>;
				dual_video_i2c = <0>;

				dual_video_capture_int = <0>;
				dual_video_capture_cam = <DVFS_CAM_L0>;
				dual_video_capture_mif = <DVFS_MIF_L0>;
				dual_video_capture_i2c = <0>;

				preview_high_speed_fps_int = <0>;
				preview_high_speed_fps_cam = <DVFS_CAM_L2>;
				preview_high_speed_fps_mif = <DVFS_MIF_L2>;
				preview_high_speed_fps_i2c = <0>;

				video_high_speed_60fps_int = <0>;
				video_high_speed_60fps_cam = <DVFS_CAM_L1>;
				video_high_speed_60fps_mif = <DVFS_MIF_L2>;
				video_high_speed_60fps_i2c = <0>;

				video_high_speed_120fps_int = <0>;
				video_high_speed_120fps_cam = <DVFS_CAM_L1>;
				video_high_speed_120fps_mif = <DVFS_MIF_L2>;
				video_high_speed_120fps_i2c = <0>;

				video_high_speed_240fps_int = <0>;
				video_high_speed_240fps_cam = <DVFS_CAM_L0>;
				video_high_speed_240fps_mif = <DVFS_MIF_L0>;
				video_high_speed_240fps_i2c = <0>;

				max_int = <0>;
				max_cam = <DVFS_CAM_L0>;
				max_mif = <DVFS_MIF_L0>;
				max_i2c = <0>;
			};
		};
	};

	fimc_is_module_3p3: fimc-is_sensor_3p3@5A {
		compatible = "samsung,sensor-module-3p3";

		pinctrl-names = "pin0", "pin1";
		pinctrl-0 = <&fimc_is_mclk0_in &fimc_is_flash>;
		pinctrl-1 = <&fimc_is_mclk0_fn &fimc_is_flash>;

		position = <0>; /* Rear:0. Front:1 */
		id = <0>; /* sensor node id */
		mclk_ch = <0>;
		sensor_i2c_ch = <0>; /* I2C 0 */
		sensor_i2c_addr = <0x5A>;

		gpio_reset = <&gpf3 3 0x1>; /* sensor reset */
		gpio_camio_1p8_en = <&gpf3 2 0x1>; /* CAM_IO_1P8 enable pin */
		gpio_camaf_2p8_en = <&gpa1 5 0x1>; /* CAM_AF_2P8 enable pin */
		gpio_camsensor_core_en = <&gpd4 4 0x1>; /* CAM_1P2 enable pin */
		status = "okay";

		/* TODO : need to update */
		af {
			product_name = <13>; /* DW9807 */
			i2c_addr = <0x18>;
			i2c_ch = <1>; /* I2C 0 */
		};

		/* TODO : need to update */
		flash {
			product_name = <11>; /* FLASH_GPIO */
			flash_first_gpio = <2>;
			flash_second_gpio = <1>;
		};
	};

	fimc_is_module_5e3: fimc-is_sensor_5e3@20 {
		compatible = "samsung,sensor-module-5e3";

		pinctrl-names = "pin0", "pin1";
		pinctrl-0 = <&fimc_is_mclk1_in>;
		pinctrl-1 = <&fimc_is_mclk1_fn>;

		position = <1>; /* Rear:0. Front:1 */
		id = <1>; /* sensor node id */
		mclk_ch = <1>;
		sensor_i2c_ch = <2>;
		sensor_i2c_addr = <0x20>;

		gpio_reset = <&gpf3 1 0x1>;
		gpio_sensor_a2p8_en = <&gpf4 1 0x1>; /* SENSOR_A2P8 enable pin */
		gpio_1p2_en =		<&gpf4 2 0x1>; /* 1P2 enable pin */
		gpio_1p8_en =		<&gpf4 3 0x1>; /* 1P8 enable pin */
		status = "okay";
	};

	fimc_is_flash_gpio: fimc-is-flash_gpio@0 {
		compatible = "samsung,sensor-flash-gpio";
		id = <0>; /* matching sensor id */
		status = "okay";

		flash-gpio = <&gpd3 2 0>;
		torch-gpio = <&gpd3 3 0>;
	};

	hsi2c_3: hsi2c@138A0000 {
		gpios = <&gpf0 0 0 &gpf0 1 0>;
		status = "okay";
		clock-frequency = <400000>;

		pinctrl-names = "default";
		pinctrl-0 = <&hs_i2c3_bus>;

		fimc-is-3p3@5A {
			compatible = "samsung,exynos5-fimc-is-cis-3p3";
			reg = <0x2D>;
			id = <0>; /* matching sensor id */
			setfile = "default";
		};
	};

	hsi2c_4: hsi2c@138B0000 {
		gpios = <&gpf1 0 0 &gpf1 1 0>;
		status = "okay";
		clock-frequency = <400000>;

		pinctrl-names = "default";
		pinctrl-0 = <&hs_i2c4_bus>;

		fimc-is-actuator@18 {
			compatible = "samsung,exynos5-fimc-is-actuator-dw9807";
			reg = <0x0C>;
			id = <0>; /* matching sensor id */
		};
	};

	hsi2c_5: hsi2c@138C0000 {
		gpios = <&gpf0 2 0 &gpf0 3 0>;
		status = "okay";
		clock-frequency = <400000>;

		pinctrl-names = "default";
		pinctrl-0 = <&hs_i2c5_bus>;

		fimc-is-5e3@6A {
			compatible = "samsung,exynos5-fimc-is-cis-5e3";
			reg = <0x10>;
			id = <1>; /* matching sensor id */
			setfile = "default";
		};
	};

	#define SENSOR_SCENARIO_NORMAL		0
	#define SENSOR_SCENARIO_VISION		1
	#define SENSOR_SCENARIO_EXTERNAL	2
	#define SENSOR_SCENARIO_OIS_FACTORY	3
	#define SENSOR_SCENARIO_VIRTUAL		9
	#define FLITE_ID_NOTHING 100

	fimc_is_sensor0: fimc_is_sensor@14420000 {
		scenario = <SENSOR_SCENARIO_NORMAL>;	/* Normal, Vision, OIS etc */
		id = <0>;
		csi_ch = <0>;
		flite_ch = <0>;
		is_bns = <1>;
		status = "okay";
	};

	fimc_is_sensor1: fimc_is_sensor@14460000 {
		scenario = <SENSOR_SCENARIO_NORMAL>;	/* Normal, Vision, OIS etc */
		id = <1>;
		csi_ch = <1>;
		flite_ch = <0>;
		is_bns = <1>;
		status = "okay";
	};
};
